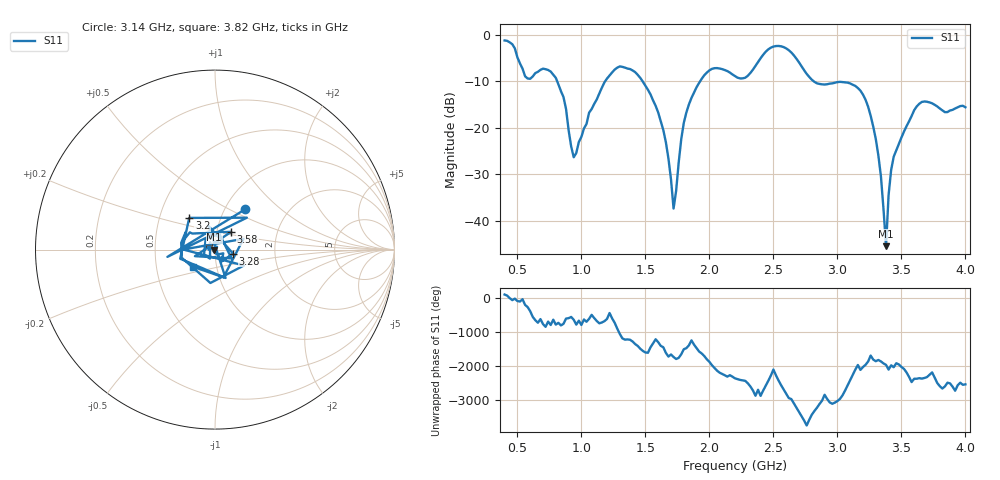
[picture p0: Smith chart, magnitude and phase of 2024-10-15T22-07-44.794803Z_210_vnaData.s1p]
! Created with skrf (http://scikit-rf.org).
# Hz S RI R 50.0
!freq ReS11 ImS11
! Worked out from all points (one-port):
!   181 points, 400 MHz to 4 GHz, reference 50 ohm
!   lowest |S11| = -45.4 dB at 3.38 GHz (marker M1), VSWR 1.01, Z = 49.5 - j0.111 ohm
!   |S11| at or under -10 dB: 810.9 MHz to 1.185 GHz (374.3 MHz wide, 37.5 % of centre); 1.478 GHz to 1.927 GHz (449 MHz wide, 26.4 % of centre); 2.816 GHz to end of sweep
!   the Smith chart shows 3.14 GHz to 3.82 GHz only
!   S11 on the Smith chart (normalised r, x): 3.14 GHz: 1.24, +0.61; 3.2 GHz: 0.71, +0.26; 3.28 GHz: 1.22, -0.06; 3.58 GHz: 1.17, +0.24; 3.82 GHz: 0.77, -0.15
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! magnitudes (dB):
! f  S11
! 400 MHz  -1.2
! 560 MHz  -8.9
! 740 MHz  -7.6
! 860 MHz  -13.4
! 940 MHz  -26.3
! 1.18 GHz  -10.2
! 1.3 GHz  -6.8
! 1.6 GHz  -16.7
! 1.66 GHz  -23.1
! 1.72 GHz  -37.3
! 1.76 GHz  -27.5
! 1.82 GHz  -16.7
! 1.94 GHz  -9.4
! 2.2 GHz  -8.9
! 2.5 GHz  -2.5
! 2.66 GHz  -4.4
! 2.84 GHz  -10.4
! 3.1 GHz  -10.5
! 3.14 GHz  -11.0
! 3.2 GHz  -12.9
! 3.28 GHz  -19.7
! 3.34 GHz  -30.4
! 3.38 GHz  -45.4
! 3.42 GHz  -29.0
! 3.56 GHz  -18.6
! 3.58 GHz  -17.4
! 3.82 GHz  -16.2
! 4 GHz  -15.6
